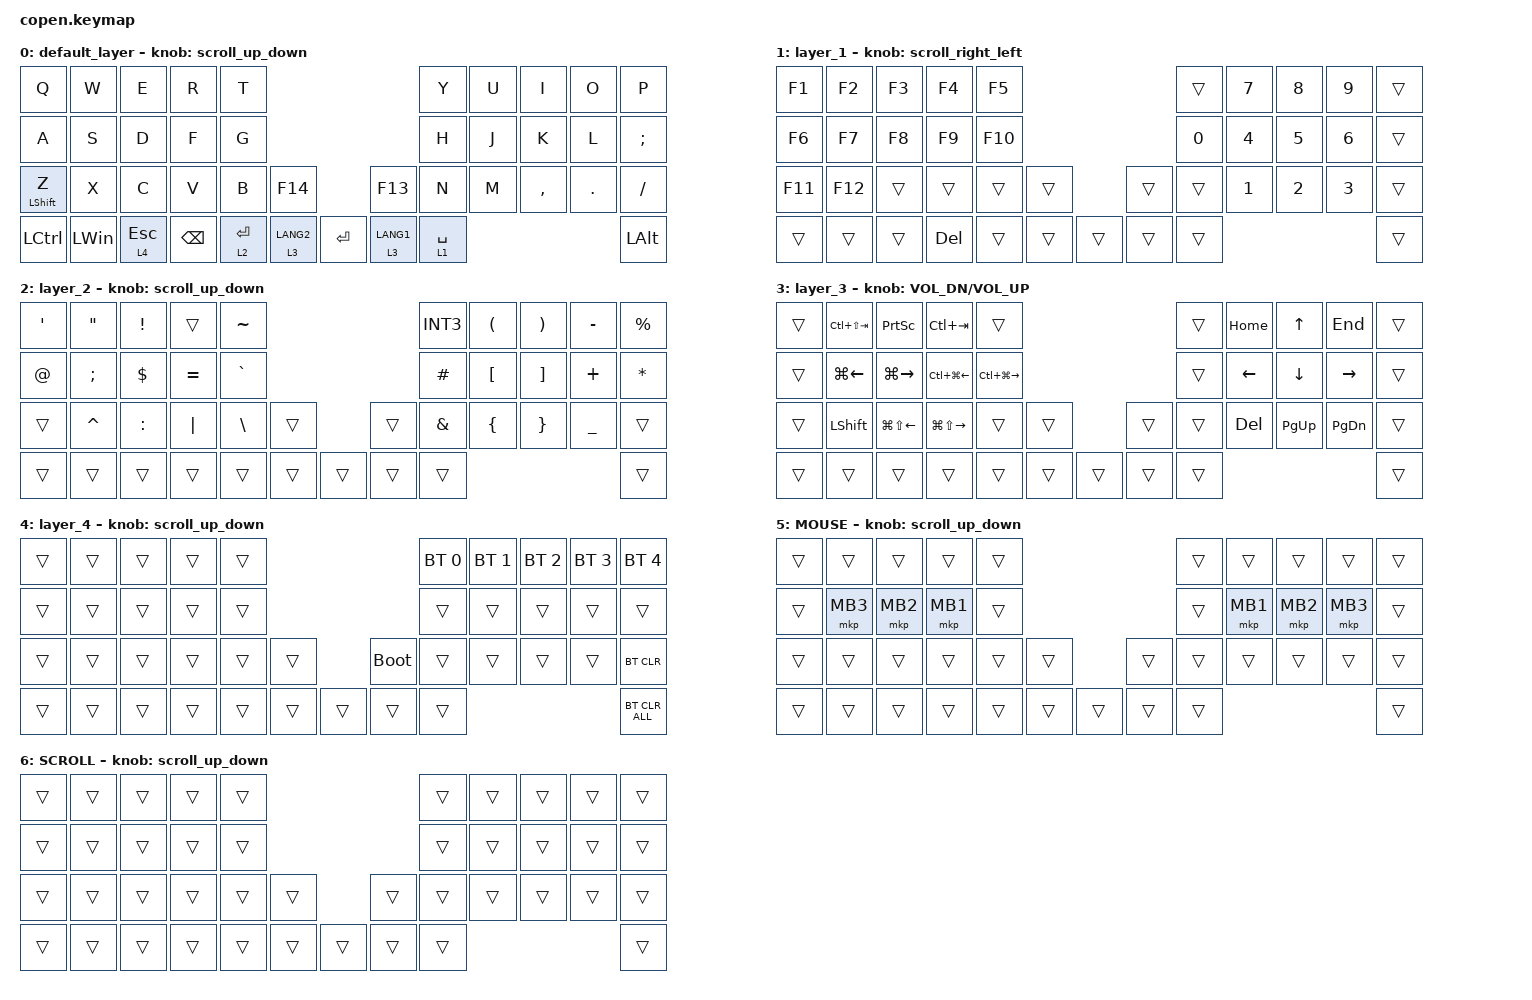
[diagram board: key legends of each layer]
#include <input/processors.dtsi>
#include <dt-bindings/zmk/input_transform.h>
#include <zephyr/dt-bindings/input/input-event-codes.h>
#include <behaviors.dtsi>
#include <dt-bindings/zmk/bt.h>
#include <dt-bindings/zmk/keys.h>
#include <dt-bindings/zmk/pointing.h>

#define ZMK_POINTING_DEFAULT_SCRL_VAL 100
#define MOUSE 5
#define SCROLL 6

&mt {
    flavor = "balanced";
    quick-tap-ms = <0>;
};

&lt {
    quick-tap-ms = <300>;
    flavor = "balanced";
};

/ {
    combos {
        compatible = "zmk,combos";

        tab {
            bindings = <&kp TAB>;
            key-positions = <11 12>;
        };
    };

    macros {
        to_layer_0: to_layer_0 {
            compatible = "zmk,behavior-macro-one-param";
            #binding-cells = <1>;
            bindings = <&to 0 &macro_param_1to1 &kp MACRO_PLACEHOLDER>;
            label = "TO_LAYER_0";
        };
    };

    behaviors {
        lt_to_layer_0: lt_to_layer_0 {
            compatible = "zmk,behavior-hold-tap";
            label = "LAYER_TAP_TO_0";
            bindings = <&mo>, <&to_layer_0>;

            #binding-cells = <2>;
            tapping-term-ms = <200>;
        };

        scroll_up_down: mouse_wheel_up_down {
            compatible = "zmk,behavior-sensor-rotate";
            #sensor-binding-cells = <0>;
            bindings = <&msc SCRL_DOWN>, <&msc SCRL_UP>;

            tap-ms = <20>;
        };

        scroll_right_left: mouse_wheel_right_left {
            compatible = "zmk,behavior-sensor-rotate";
            #sensor-binding-cells = <0>;
            bindings = <&msc SCRL_LEFT>, <&msc SCRL_RIGHT>;

            tap-ms = <20>;
        };
    };

    keymap {
        compatible = "zmk,keymap";

        // Layer 0: QWERTY base
        // Combos: S+D=Tab
        // Row 3 right thumb: RC(3,7)=ENTER RC(3,8)=LANG1 RC(3,9)=SPC RC(3,10)=ALT
        default_layer {
            bindings = <
&kp Q             &kp W         &kp E      &kp R          &kp T                                                                   &kp Y        &kp U  &kp I      &kp O    &kp P
&kp A             &kp S         &kp D      &kp F          &kp G                                                           &kp H        &kp J  &kp K      &kp L    &kp SEMICOLON
&mt LEFT_SHIFT Z  &kp X         &kp C      &kp V          &kp B        &kp F14                        &kp F13             &kp N        &kp M  &kp COMMA  &kp DOT  &kp SLASH
&kp LCTRL         &kp LEFT_WIN  &lt 4 ESC  &kp BACKSPACE  &lt 2 ENTER  &lt_to_layer_0 3 LANG2    &kp ENTER  &lt_to_layer_0 3 LANG1  &lt 1 SPACE  &kp LEFT_ALT
            >;

            sensor-bindings = <&scroll_up_down>;
        };

        // Layer 1: テンキー(右手) + Fキー(左手)
        // DEL = このレイヤー中に BS タップ
        layer_1 {
            bindings = <
&kp F1   &kp F2   &kp F3  &kp F4  &kp F5                  &trans        &kp NUMBER_7  &kp NUMBER_8  &kp NUMBER_9  &trans
&kp F6   &kp F7   &kp F8  &kp F9  &kp F10   &kp NUMBER_0  &kp NUMBER_4  &kp NUMBER_5  &kp NUMBER_6  &trans
&kp F11  &kp F12  &trans  &trans  &trans  &trans   &trans   &trans        &kp NUMBER_1  &kp NUMBER_2  &kp NUMBER_3  &trans
&trans   &trans   &trans  &kp DEL &trans  &trans   &trans   &trans        &trans        &trans
            >;

            sensor-bindings = <&scroll_right_left>;
        };

        // Layer 2: ニーモニック記号
        // @=A[a]t  !=E[e]xcl  "=W[w]quot  #=H[h]ash  $=D[d]ollar
        // %=P[p]ct  &=N[n]and  '=Q[q]uot  ¥=Y[y]en  \=B[b]slash
        // ;=S[s]emi  :=C[c]olon  ~=T[t]ilde  `=G[g]rave  |=V[v]ert
        layer_2 {
            bindings = <
&kp SQT  &kp DQT    &kp EXCL    &trans      &kp TILDE               &kp INT3   &kp LPAR  &kp RPAR  &kp MINUS  &kp PERCENT
&kp AT   &kp SEMI   &kp DOLLAR  &kp EQUAL   &kp GRAVE   &kp HASH   &kp LBKT  &kp RBKT  &kp PLUS   &kp STAR
&trans   &kp CARET  &kp COLON   &kp PIPE    &kp BSLH   &trans  &trans      &kp AMPS   &kp LBRC  &kp RBRC  &kp UNDER  &trans
&trans   &trans     &trans      &trans      &trans     &trans  &trans  &trans  &trans  &trans
            >;

            sensor-bindings = <&scroll_up_down>;
        };

        // Layer 3: ナビ・ウィンドウ操作(Mac)
        layer_3 {
            bindings = <
&trans  &kp LC(LS(TAB))     &kp PRINTSCREEN         &kp LC(TAB)              &trans                          &trans  &kp HOME        &kp UP_ARROW    &kp END          &trans
&trans  &kp LG(LEFT_ARROW)  &kp LG(RIGHT_ARROW)     &kp LC(LG(LEFT_ARROW))   &kp LC(LG(RIGHT_ARROW))  &trans  &kp LEFT_ARROW  &kp DOWN_ARROW  &kp RIGHT_ARROW  &trans
&trans  &kp LEFT_SHIFT      &kp LG(LS(LEFT_ARROW))  &kp LG(LS(RIGHT_ARROW))  &trans           &trans  &trans  &trans  &kp DELETE      &kp PAGE_UP     &kp PAGE_DOWN    &trans
&trans  &trans              &trans                  &trans                   &trans           &trans  &trans  &trans  &trans  &trans
            >;

            sensor-bindings = <&inc_dec_kp C_VOL_DN C_VOL_UP>;
        };

        // Layer 4: BT・システム (ESC ホールドで起動)
        layer_4 {
            bindings = <
&trans  &trans  &trans  &trans  &trans                  &bt BT_SEL 0  &bt BT_SEL 1  &bt BT_SEL 2  &bt BT_SEL 3  &bt BT_SEL 4
&trans  &trans  &trans  &trans  &trans   &trans        &trans        &trans        &trans        &trans
&trans  &trans  &trans  &trans  &trans  &trans    &bootloader  &trans        &trans        &trans        &trans        &bt BT_CLR
&trans  &trans  &trans  &trans  &trans  &trans    &trans  &trans  &trans  &bt BT_CLR_ALL
            >;

            sensor-bindings = <&scroll_up_down>;
        };

        MOUSE {
            bindings = <
&trans  &trans    &trans    &trans    &trans              &trans  &trans    &trans    &trans    &trans
&trans  &mkp MB3  &mkp MB2  &mkp MB1  &trans   &trans  &mkp MB1  &mkp MB2  &mkp MB3  &trans
&trans  &trans    &trans    &trans    &trans  &trans    &trans  &trans  &trans    &trans    &trans    &trans
&trans  &trans    &trans    &trans    &trans  &trans    &trans  &trans  &trans  &trans
            >;

            sensor-bindings = <&scroll_up_down>;
        };

        SCROLL {
            bindings = <
&trans  &trans  &trans  &trans  &trans              &trans  &trans  &trans  &trans  &trans
&trans  &trans  &trans  &trans  &trans   &trans  &trans  &trans  &trans  &trans
&trans  &trans  &trans  &trans  &trans  &trans    &trans  &trans  &trans  &trans  &trans  &trans
&trans  &trans  &trans  &trans  &trans  &trans    &trans  &trans  &trans  &trans
            >;

            sensor-bindings = <&scroll_up_down>;
        };
    };
};
